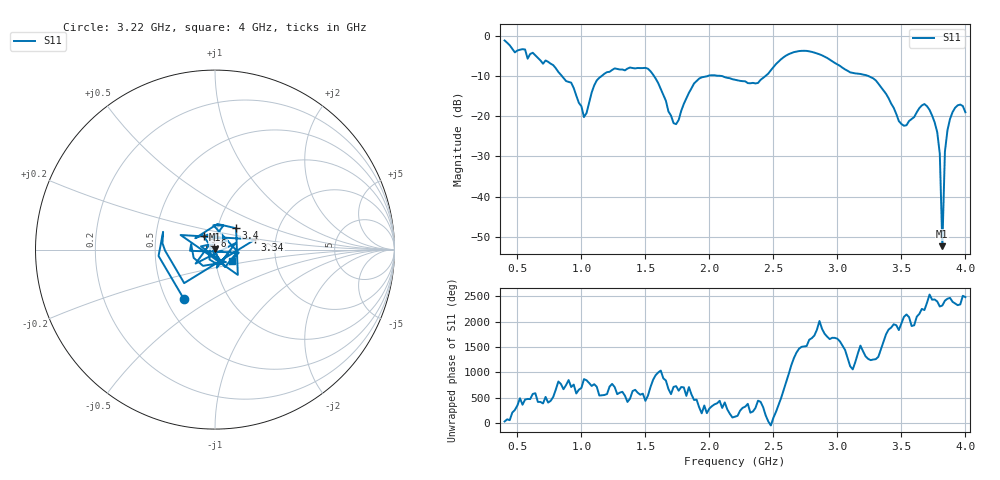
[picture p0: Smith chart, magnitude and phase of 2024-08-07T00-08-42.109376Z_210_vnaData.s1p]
!Created with skrf (http://scikit-rf.org).
# Hz S RI R 50.0
!freq ReS11 ImS11
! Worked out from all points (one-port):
!   181 points, 400 MHz to 4 GHz, reference 50 ohm
!   lowest |S11| = -52.3 dB at 3.82 GHz (marker M1), VSWR 1.00, Z = 49.8 + j0.0784 ohm
!   |S11| at or under -10 dB: 1.567 GHz to 1.989 GHz (422.2 MHz wide, 23.7 % of centre); 2.09 GHz to 2.439 GHz (349.5 MHz wide, 15.4 % of centre); 3.241 GHz to end of sweep (the widest 3 of 4)
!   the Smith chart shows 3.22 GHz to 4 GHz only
!   S11 on the Smith chart (normalised r, x): 3.22 GHz: 0.62, -0.38; 3.34 GHz: 1.56, +0.19; 3.4 GHz: 1.23, +0.30; 3.6 GHz: 0.87, +0.13; 4 GHz: 1.20, -0.15
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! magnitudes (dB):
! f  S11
! 400 MHz  -1.2
! 860 MHz  -10.5
! 920 MHz  -11.7
! 1.02 GHz  -20.2
! 1.12 GHz  -11.1
! 1.3 GHz  -8.4
! 1.52 GHz  -8.2
! 1.72 GHz  -21.7
! 1.76 GHz  -20.9
! 1.92 GHz  -10.7
! 2.2 GHz  -10.9
! 2.38 GHz  -11.7
! 2.66 GHz  -4.1
! 3.1 GHz  -9.1
! 3.22 GHz  -9.8
! 3.34 GHz  -12.8
! 3.4 GHz  -15.5
! 3.5 GHz  -21.9
! 3.56 GHz  -21.2
! 3.6 GHz  -20.2
! 3.68 GHz  -17.0
! 3.78 GHz  -24.0
! 3.8 GHz  -29.3
! 3.82 GHz  -52.3
! 3.84 GHz  -28.8
! 3.86 GHz  -23.5
! 3.92 GHz  -17.9
! 4 GHz  -19.0
